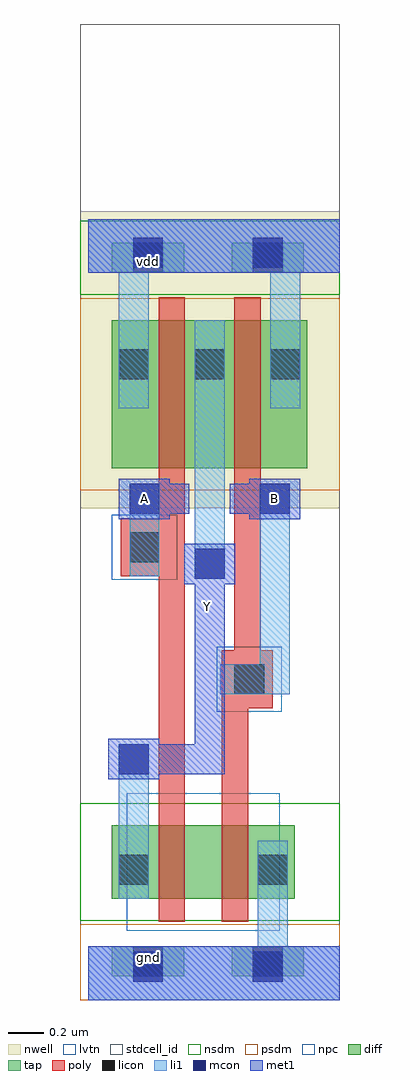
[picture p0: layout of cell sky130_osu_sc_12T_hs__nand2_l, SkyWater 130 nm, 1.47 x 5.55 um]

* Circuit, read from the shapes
.subckt sky130_osu_sc_12T_hs__nand2_l A B Y gnd vdd
XM1 n1 A Y gnd sky130_fd_pr__nfet_01v8_lvt w=0.42 l=0.15
XM2 gnd B n1 gnd sky130_fd_pr__nfet_01v8_lvt w=0.42 l=0.15
XM3 Y A vdd vdd sky130_fd_pr__pfet_01v8 w=0.84 l=0.15
XM4 vdd B Y vdd sky130_fd_pr__pfet_01v8 w=0.84 l=0.15
.ends

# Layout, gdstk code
import gdstk
lib = gdstk.Library(unit=1e-6, precision=1e-09)
def R(c, l, rs):  # rectangles x0, y0, x1, y1
    for r in rs: c.add(gdstk.rectangle(r[:2], r[2:], *l))
def A(c, l, x, y, w, h, nx, ny, dx, dy):  # array of equal rectangles
    R(c, l, [(x+i*dx, y+j*dy, x+i*dx+w, y+j*dy+h) for i in range(nx) for j in range(ny)])
nwell = (64, 20)
diff = (65, 20)
tap = (65, 44)
poly = (66, 20)
licon = (66, 44)
li1 = (67, 20)
mcon = (67, 44)
met1 = (68, 20)
stdcell_id = (81, 4)
nsdm = (93, 44)
psdm = (94, 20)
npc = (95, 20)
lvtn = (125, 44)

sky130_osu_sc_12t_hs__na = lib.new_cell('sky130_osu_sc_12T_hs__nand2_l')
R(sky130_osu_sc_12t_hs__na, nwell, [(-0.045,2.795,1.43,4.485)])
R(sky130_osu_sc_12t_hs__na, diff, [(0.135,0.575,1.175,0.995), (0.135,3.025,1.245,3.865)])
R(sky130_osu_sc_12t_hs__na, tap, [(0.135,0.135,0.545,0.305), (0.815,0.135,1.225,0.305), (0.135,4.135,0.545,4.305), (0.815,4.135,1.225,4.305)])
R(sky130_osu_sc_12t_hs__na, poly, [(0.4,0.445,0.55,2.41), (0.76,0.445,0.91,1.66), (0.76,1.66,1.05,1.99), (0.83,1.99,0.98,3.995), (0.185,2.41,0.55,2.74), (0.4,2.74,0.55,3.995)])
A(sky130_osu_sc_12t_hs__na, licon, 0.175, 3.53, 0.17, 0.17, 3, 1, 0.43, 0)
R(sky130_osu_sc_12t_hs__na, licon, [(0.255,0.135,0.425,0.305), (0.935,0.135,1.105,0.305), (0.175,0.655,0.345,0.825), (0.965,0.655,1.135,0.825), (0.83,1.74,1,1.91), (0.235,2.49,0.405,2.66), (0.255,4.135,0.425,4.305), (0.935,4.135,1.105,4.305)])
R(sky130_osu_sc_12t_hs__na, li1, [(0,0,1.43,0.305), (0.965,0.305,1.135,0.905), (0.175,0.575,0.345,1.455), (0.75,1.74,1.145,1.91), (0.975,1.91,1.145,2.935), (0.605,2.395,0.775,3.865), (0.235,2.41,0.405,2.935), (0.175,3.365,0.345,4.135), (1.035,3.365,1.205,4.135), (0,4.135,1.43,4.44)])
R(sky130_osu_sc_12t_hs__na, mcon, [(0.255,0.105,0.425,0.275), (0.935,0.105,1.105,0.275), (0.175,1.285,0.345,1.455), (0.605,2.395,0.775,2.565), (0.235,2.765,0.405,2.935), (0.975,2.765,1.145,2.935), (0.255,4.165,0.425,4.335), (0.935,4.165,1.105,4.335)])
R(sky130_osu_sc_12t_hs__na, met1, [(0,0,1.43,0.305), (0.115,1.255,0.405,1.285), (0.115,1.285,0.775,1.455), (0.115,1.455,0.405,1.485), (0.605,1.455,0.775,2.365), (0.545,2.365,0.835,2.595), (0.175,2.735,0.465,2.765), (0.915,2.735,1.205,2.765), (0.175,2.765,0.575,2.935), (0.805,2.765,1.205,2.935), (0.175,2.935,0.465,2.965), (0.915,2.935,1.205,2.965), (0,4.135,1.43,4.44)])
R(sky130_osu_sc_12t_hs__na, stdcell_id, [(-0.045,0,1.43,5.55)])
R(sky130_osu_sc_12t_hs__na, nsdm, [(-0.045,0.45,1.43,1.12), (-0.045,4.01,1.43,4.43)])
R(sky130_osu_sc_12t_hs__na, psdm, [(-0.045,0,1.43,0.43), (-0.045,2.9,1.43,3.99)])
R(sky130_osu_sc_12t_hs__na, npc, [(0.73,1.64,1.1,2.01), (0.135,2.39,0.505,2.76)])
R(sky130_osu_sc_12t_hs__na, lvtn, [(0.22,0.395,1.09,1.175)])
sky130_osu_sc_12t_hs__na.add(gdstk.Label('gnd', (0.34,0.24), layer=68, texttype=16))
sky130_osu_sc_12t_hs__na.add(gdstk.Label('vdd', (0.34,4.2), layer=68, texttype=16))
sky130_osu_sc_12t_hs__na.add(gdstk.Label('Y', (0.68,2.24), layer=68, texttype=5))
sky130_osu_sc_12t_hs__na.add(gdstk.Label('B', (1.06,2.85), layer=68, texttype=5))
sky130_osu_sc_12t_hs__na.add(gdstk.Label('A', (0.32,2.85), layer=68, texttype=5))

lib.write_gds('sky130_osu_sc_12T_hs__nand2_l.gds')
